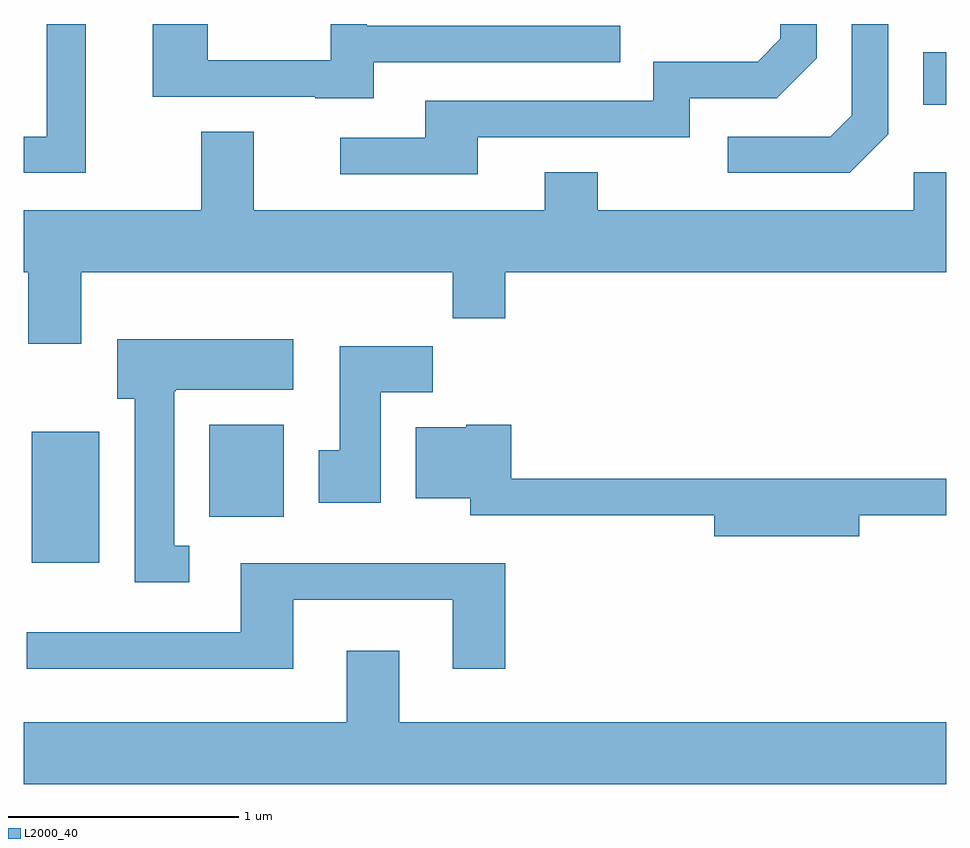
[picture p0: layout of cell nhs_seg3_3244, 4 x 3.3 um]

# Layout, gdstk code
import gdstk
lib = gdstk.Library(unit=1e-6, precision=1e-09)
def R(c, l, rs):  # rectangles x0, y0, x1, y1
    for r in rs: c.add(gdstk.rectangle(r[:2], r[2:], *l))
def P(c, l, *ps):  # polygons
    for p in ps: c.add(gdstk.Polygon(p, *l))
L2000_40 = (2000, 40)

nhs_seg3_3244 = lib.new_cell('nhs_seg3_3244')
R(nhs_seg3_3244, L2000_40, [(279.646,1213.556,279.939,1214.124), (280.416,1213.756,280.739,1214.154), (283.511,1215.541,283.611,1215.769)])
P(nhs_seg3_3244, L2000_40, [(283.359,1215.414),(283.359,1215.892),(283.201,1215.892),(283.201,1215.497),(283.109,1215.404),(282.663,1215.404),(282.663,1215.246),(283.192,1215.246)],
  [(281.579,1215.401),(282.499,1215.401),(282.499,1215.571),(282.877,1215.571),(283.049,1215.744),(283.049,1215.892),(282.891,1215.892),(282.891,1215.827),(282.794,1215.729),(282.341,1215.729),(282.341,1215.559),(281.351,1215.559),(281.351,1215.399),(280.983,1215.399),(280.983,1215.241),(281.579,1215.241)],
  [(281.129,1215.726),(282.198,1215.726),(282.198,1215.884),(281.099,1215.884),(281.099,1215.892),(280.941,1215.892),(280.941,1215.734),(280.409,1215.734),(280.409,1215.892),(280.171,1215.892),(280.171,1215.576),(280.875,1215.576),(280.875,1215.571),(281.129,1215.571)],
  [(279.879,1215.892),(279.711,1215.892),(279.711,1215.404),(279.611,1215.404),(279.611,1215.246),(279.879,1215.246)],
  [(279.859,1214.816),(281.471,1214.816),(281.471,1214.616),(281.699,1214.616),(281.699,1214.816),(283.611,1214.816),(283.611,1215.249),(283.471,1215.249),(283.471,1215.084),(282.099,1215.084),(282.099,1215.249),(281.871,1215.249),(281.871,1215.084),(280.609,1215.084),(280.609,1215.424),(280.381,1215.424),(280.381,1215.084),(279.611,1215.084),(279.611,1214.816),(279.631,1214.816),(279.631,1214.506),(279.859,1214.506)],
  [(280.328,1213.629),(280.264,1213.629),(280.264,1214.3),(280.27,1214.3),(280.27,1214.306),(280.779,1214.306),(280.779,1214.524),(280.016,1214.524),(280.016,1214.266),(280.091,1214.266),(280.091,1213.471),(280.328,1213.471)],
  [(281.159,1214.296),(281.384,1214.296),(281.384,1214.494),(280.981,1214.494),(280.981,1214.044),(280.891,1214.044),(280.891,1213.816),(281.159,1213.816)],
  [(283.234,1213.761),(283.611,1213.761),(283.611,1213.919),(281.724,1213.919),(281.724,1214.154),(281.53,1214.154),(281.53,1214.144),(281.311,1214.144),(281.311,1213.836),(281.546,1213.836),(281.546,1213.761),(282.606,1213.761),(282.606,1213.671),(283.234,1213.671)],
  [(280.779,1213.396),(281.471,1213.396),(281.471,1213.096),(281.699,1213.096),(281.699,1213.554),(280.551,1213.554),(280.551,1213.254),(279.623,1213.254),(279.623,1213.096),(280.779,1213.096)],
  [(283.611,1212.864),(281.239,1212.864),(281.239,1213.174),(281.011,1213.174),(281.011,1212.864),(279.611,1212.864),(279.611,1212.596),(283.611,1212.596)])

lib.write_gds('nhs_seg3_3244.gds')
